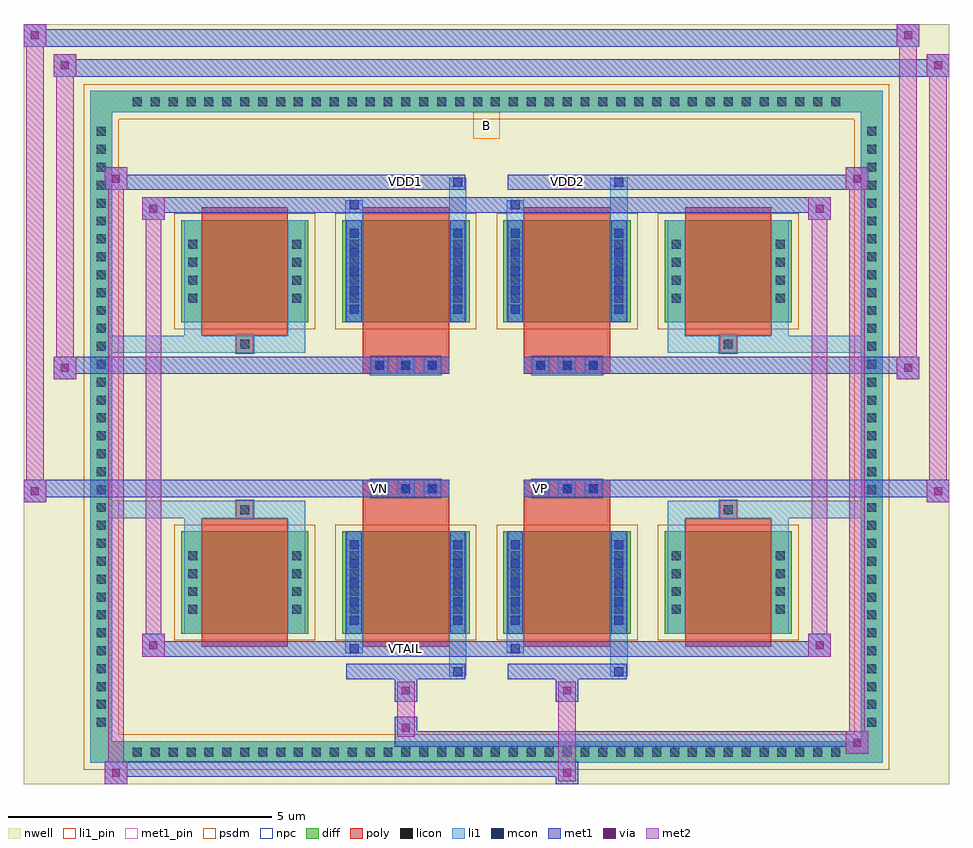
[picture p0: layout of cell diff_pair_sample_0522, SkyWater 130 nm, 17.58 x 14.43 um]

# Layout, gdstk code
import gdstk
lib = gdstk.Library(unit=1e-6, precision=5e-09)
def R(c, l, rs):  # rectangles x0, y0, x1, y1
    for r in rs: c.add(gdstk.rectangle(r[:2], r[2:], *l))
def A(c, l, x, y, w, h, nx, ny, dx, dy):  # array of equal rectangles
    R(c, l, [(x+i*dx, y+j*dy, x+i*dx+w, y+j*dy+h) for i in range(nx) for j in range(ny)])
def P(c, l, *ps):  # polygons
    for p in ps: c.add(gdstk.Polygon(p, *l))
nwell = (64, 20)
diff = (65, 20)
poly = (66, 20)
licon = (66, 44)
li1_pin = (67, 16)
li1 = (67, 20)
mcon = (67, 44)
met1_pin = (68, 16)
met1 = (68, 20)
via = (68, 44)
met2 = (69, 20)
psdm = (94, 20)
npc = (95, 20)

diff_pair_sample_0522 = lib.new_cell('diff_pair_sample_0522')
R(diff_pair_sample_0522, nwell, [(-8.79,-6.78,8.79,7.65), (-6.11,-4.97,-0.01,-0.805), (0.01,-4.97,6.11,-0.805), (-6.11,0.805,-0.01,4.97), (0.01,0.805,6.11,4.97)])
A(diff_pair_sample_0522, diff, -6.835, -6.38, 0.41, 0.41, 40, 2, 0.34, 12.35)
A(diff_pair_sample_0522, diff, -7.52, -5.815, 0.41, 0.41, 1, 34, 0, 0.34)
A(diff_pair_sample_0522, diff, 7.11, -5.815, 0.41, 0.41, 1, 34, 0, 0.34)
A(diff_pair_sample_0522, diff, -5.8, -3.925, 2.42, 1.94, 4, 2, 3.06, 5.91)
R(diff_pair_sample_0522, diff, [(-6.835,-6.38,6.835,-5.97), (-7.52,-5.815,-7.11,5.815), (7.11,-5.815,7.52,5.815), (-6.835,5.97,6.835,6.38)])
P(diff_pair_sample_0522, diff, [(7.52,6.38),(-7.52,6.38),(-7.52,-5.97),(-7.11,-5.97),(-7.11,5.97),(7.11,5.97),(7.11,-5.97),(-7.11,-5.97),(-7.52,-5.97),(-7.52,-6.38),(7.52,-6.38)])
A(diff_pair_sample_0522, poly, -5.41, -4.175, 1.64, 2.44, 4, 2, 3.06, 5.91)
A(diff_pair_sample_0522, poly, -2.195, -1.335, 0.33, 0.33, 3, 2, 0.5, 2.34)
A(diff_pair_sample_0522, poly, 0.865, -1.335, 0.33, 0.33, 3, 2, 0.5, 2.34)
R(diff_pair_sample_0522, poly, [(-4.755,-1.735,-4.425,-1.405), (-4.755,-1.735,-4.425,-1.405), (-2.35,-1.735,-0.71,-1.335), (0.71,-1.735,2.35,-1.335), (4.425,-1.735,4.755,-1.405), (4.425,-1.735,4.755,-1.405), (-2.35,-1.335,-0.71,-1.005), (0.71,-1.335,2.35,-1.005), (-2.35,1.005,-0.71,1.335), (0.71,1.005,2.35,1.335), (-2.35,1.335,-0.71,1.735), (0.71,1.335,2.35,1.735), (-4.755,1.405,-4.425,1.735), (-4.755,1.405,-4.425,1.735), (4.425,1.405,4.755,1.735), (4.425,1.405,4.755,1.735)])
A(diff_pair_sample_0522, licon, -6.715, -6.26, 0.17, 0.17, 40, 2, 0.34, 12.35)
A(diff_pair_sample_0522, licon, -7.4, -5.695, 0.17, 0.17, 1, 34, 0, 0.34)
A(diff_pair_sample_0522, licon, 7.23, -5.695, 0.17, 0.17, 1, 34, 0, 0.34)
A(diff_pair_sample_0522, licon, -5.66, -3.55, 0.17, 0.17, 1, 4, 0, 0.34)
A(diff_pair_sample_0522, licon, -3.69, -3.55, 0.17, 0.17, 1, 4, 0, 0.34)
A(diff_pair_sample_0522, licon, -2.6, -3.55, 0.17, 0.17, 1, 4, 0, 0.34)
A(diff_pair_sample_0522, licon, -0.63, -3.55, 0.17, 0.17, 1, 4, 0, 0.34)
A(diff_pair_sample_0522, licon, 0.46, -3.55, 0.17, 0.17, 1, 4, 0, 0.34)
A(diff_pair_sample_0522, licon, 2.43, -3.55, 0.17, 0.17, 1, 4, 0, 0.34)
A(diff_pair_sample_0522, licon, 3.52, -3.55, 0.17, 0.17, 1, 4, 0, 0.34)
A(diff_pair_sample_0522, licon, 5.49, -3.55, 0.17, 0.17, 1, 4, 0, 0.34)
A(diff_pair_sample_0522, licon, -2.115, -1.255, 0.17, 0.17, 3, 2, 0.5, 2.34)
A(diff_pair_sample_0522, licon, 0.945, -1.255, 0.17, 0.17, 3, 2, 0.5, 2.34)
A(diff_pair_sample_0522, licon, -5.66, 2.36, 0.17, 0.17, 1, 4, 0, 0.34)
A(diff_pair_sample_0522, licon, -3.69, 2.36, 0.17, 0.17, 1, 4, 0, 0.34)
A(diff_pair_sample_0522, licon, -2.6, 2.36, 0.17, 0.17, 1, 4, 0, 0.34)
A(diff_pair_sample_0522, licon, -0.63, 2.36, 0.17, 0.17, 1, 4, 0, 0.34)
A(diff_pair_sample_0522, licon, 0.46, 2.36, 0.17, 0.17, 1, 4, 0, 0.34)
A(diff_pair_sample_0522, licon, 2.43, 2.36, 0.17, 0.17, 1, 4, 0, 0.34)
A(diff_pair_sample_0522, licon, 3.52, 2.36, 0.17, 0.17, 1, 4, 0, 0.34)
A(diff_pair_sample_0522, licon, 5.49, 2.36, 0.17, 0.17, 1, 4, 0, 0.34)
R(diff_pair_sample_0522, licon, [(-4.675,-1.655,-4.505,-1.485), (4.505,-1.655,4.675,-1.485), (-4.675,1.485,-4.505,1.655), (4.505,1.485,4.675,1.655)])
R(diff_pair_sample_0522, li1_pin, [(-0.25,5.47,0.25,5.97)])
A(diff_pair_sample_0522, li1, -6.795, -6.34, 0.33, 0.33, 40, 2, 0.34, 12.35)
A(diff_pair_sample_0522, li1, -7.48, -5.775, 0.33, 0.33, 1, 34, 0, 0.34)
A(diff_pair_sample_0522, li1, 7.15, -5.775, 0.33, 0.33, 1, 34, 0, 0.34)
A(diff_pair_sample_0522, li1, -2.6, -3.76, 0.17, 0.17, 1, 5, 0, 0.36)
A(diff_pair_sample_0522, li1, -0.63, -3.76, 0.17, 0.17, 1, 5, 0, 0.36)
A(diff_pair_sample_0522, li1, 0.46, -3.76, 0.17, 0.17, 1, 5, 0, 0.36)
A(diff_pair_sample_0522, li1, 2.43, -3.76, 0.17, 0.17, 1, 5, 0, 0.36)
A(diff_pair_sample_0522, li1, -5.74, -3.63, 0.33, 0.33, 1, 4, 0, 0.34)
A(diff_pair_sample_0522, li1, -3.77, -3.63, 0.33, 0.33, 1, 4, 0, 0.34)
A(diff_pair_sample_0522, li1, -2.68, -3.63, 0.33, 0.33, 1, 4, 0, 0.34)
A(diff_pair_sample_0522, li1, -0.71, -3.63, 0.33, 0.33, 1, 4, 0, 0.34)
A(diff_pair_sample_0522, li1, 0.38, -3.63, 0.33, 0.33, 1, 4, 0, 0.34)
A(diff_pair_sample_0522, li1, 2.35, -3.63, 0.33, 0.33, 1, 4, 0, 0.34)
A(diff_pair_sample_0522, li1, 3.44, -3.63, 0.33, 0.33, 1, 4, 0, 0.34)
A(diff_pair_sample_0522, li1, 5.41, -3.63, 0.33, 0.33, 1, 4, 0, 0.34)
A(diff_pair_sample_0522, li1, -2.195, -1.335, 0.33, 0.33, 3, 2, 0.5, 2.34)
A(diff_pair_sample_0522, li1, 0.865, -1.335, 0.33, 0.33, 3, 2, 0.5, 2.34)
A(diff_pair_sample_0522, li1, -2.6, 2.15, 0.17, 0.17, 1, 5, 0, 0.36)
A(diff_pair_sample_0522, li1, -0.63, 2.15, 0.17, 0.17, 1, 5, 0, 0.36)
A(diff_pair_sample_0522, li1, 0.46, 2.15, 0.17, 0.17, 1, 5, 0, 0.36)
A(diff_pair_sample_0522, li1, 2.43, 2.15, 0.17, 0.17, 1, 5, 0, 0.36)
A(diff_pair_sample_0522, li1, -5.74, 2.28, 0.33, 0.33, 1, 4, 0, 0.34)
A(diff_pair_sample_0522, li1, -3.77, 2.28, 0.33, 0.33, 1, 4, 0, 0.34)
A(diff_pair_sample_0522, li1, -2.68, 2.28, 0.33, 0.33, 1, 4, 0, 0.34)
A(diff_pair_sample_0522, li1, -0.71, 2.28, 0.33, 0.33, 1, 4, 0, 0.34)
A(diff_pair_sample_0522, li1, 0.38, 2.28, 0.33, 0.33, 1, 4, 0, 0.34)
A(diff_pair_sample_0522, li1, 2.35, 2.28, 0.33, 0.33, 1, 4, 0, 0.34)
A(diff_pair_sample_0522, li1, 3.44, 2.28, 0.33, 0.33, 1, 4, 0, 0.34)
A(diff_pair_sample_0522, li1, 5.41, 2.28, 0.33, 0.33, 1, 4, 0, 0.34)
R(diff_pair_sample_0522, li1, [(-7.52,-6.38,-7.11,-5.97), (-7.52,-6.38,-7.11,-5.97), (-7.11,-6.38,7.11,-5.97), (7.11,-6.38,7.52,-5.97), (7.11,-6.38,7.52,-5.97), (-7.52,-5.97,-7.11,5.97), (7.11,-5.97,7.52,5.97), (-0.71,-4.73,-0.38,-3.925), (-0.63,-4.73,-0.46,-4.56), (2.35,-4.73,2.68,-3.925), (2.43,-4.73,2.6,-4.56), (-2.68,-4.3,-2.35,-3.925), (-2.6,-4.3,-2.43,-4.13), (0.38,-4.3,0.71,-3.925), (0.46,-4.3,0.63,-4.13), (-5.74,-3.925,-5.41,-1.985), (-3.77,-3.925,-3.44,-1.985), (-2.68,-3.925,-2.35,-1.985), (-0.71,-3.925,-0.38,-1.985), (0.38,-3.925,0.71,-1.985), (2.35,-3.925,2.68,-1.985), (3.44,-3.925,3.77,-1.985), (5.41,-3.925,5.74,-1.985), (-2.6,-3.76,-2.43,-2.15), (-0.63,-3.76,-0.46,-2.15), (0.46,-3.76,0.63,-2.15), (2.43,-3.76,2.6,-2.15), (-5.74,-1.985,-5.41,-1.405), (-3.77,-1.985,-3.44,-1.405), (3.44,-1.985,3.77,-1.405), (5.41,-1.985,5.74,-1.405), (-7.52,-1.735,-4.755,-1.405), (-5.74,-1.735,-4.755,-1.405), (-4.755,-1.735,-4.425,-1.405), (-4.425,-1.735,-3.44,-1.405), (3.44,-1.735,4.425,-1.405), (4.425,-1.735,4.755,-1.405), (4.425,-1.735,7.52,-1.405), (4.755,-1.735,5.74,-1.405), (-7.52,1.405,-4.755,1.735), (-5.74,1.405,-4.755,1.735), (-5.74,1.405,-5.41,1.985), (-4.755,1.405,-4.425,1.735), (-4.425,1.405,-3.44,1.735), (-3.77,1.405,-3.44,1.985), (3.44,1.405,4.425,1.735), (3.44,1.405,3.77,1.985), (4.425,1.405,4.755,1.735), (4.425,1.405,7.52,1.735), (4.755,1.405,5.74,1.735), (5.41,1.405,5.74,1.985), (-5.74,1.985,-5.41,3.925), (-3.77,1.985,-3.44,3.925), (-2.68,1.985,-2.35,3.925), (-0.71,1.985,-0.38,3.925), (0.38,1.985,0.71,3.925), (2.35,1.985,2.68,3.925), (3.44,1.985,3.77,3.925), (5.41,1.985,5.74,3.925), (-2.6,2.15,-2.43,3.76), (-0.63,2.15,-0.46,3.76), (0.46,2.15,0.63,3.76), (2.43,2.15,2.6,3.76), (-2.68,3.925,-2.35,4.3), (-0.71,3.925,-0.38,4.73), (0.38,3.925,0.71,4.3), (2.35,3.925,2.68,4.73), (-2.6,4.13,-2.43,4.3), (0.46,4.13,0.63,4.3), (-0.63,4.56,-0.46,4.73), (2.43,4.56,2.6,4.73), (-7.52,5.97,-7.11,6.38), (-7.52,5.97,-7.11,6.38), (-7.11,5.97,7.11,6.38), (7.11,5.97,7.52,6.38), (7.11,5.97,7.52,6.38)])
A(diff_pair_sample_0522, mcon, -2.6, -3.76, 0.17, 0.17, 1, 5, 0, 0.36)
A(diff_pair_sample_0522, mcon, -0.63, -3.76, 0.17, 0.17, 1, 5, 0, 0.36)
A(diff_pair_sample_0522, mcon, 0.46, -3.76, 0.17, 0.17, 1, 5, 0, 0.36)
A(diff_pair_sample_0522, mcon, 2.43, -3.76, 0.17, 0.17, 1, 5, 0, 0.36)
A(diff_pair_sample_0522, mcon, -2.115, -1.255, 0.17, 0.17, 3, 2, 0.5, 2.34)
A(diff_pair_sample_0522, mcon, 0.945, -1.255, 0.17, 0.17, 3, 2, 0.5, 2.34)
A(diff_pair_sample_0522, mcon, -2.6, 2.15, 0.17, 0.17, 1, 5, 0, 0.36)
A(diff_pair_sample_0522, mcon, -0.63, 2.15, 0.17, 0.17, 1, 5, 0, 0.36)
A(diff_pair_sample_0522, mcon, 0.46, 2.15, 0.17, 0.17, 1, 5, 0, 0.36)
A(diff_pair_sample_0522, mcon, 2.43, 2.15, 0.17, 0.17, 1, 5, 0, 0.36)
R(diff_pair_sample_0522, mcon, [(-0.63,-4.73,-0.46,-4.56), (2.43,-4.73,2.6,-4.56), (-2.6,-4.3,-2.43,-4.13), (0.46,-4.3,0.63,-4.13), (-2.6,4.13,-2.43,4.3), (0.46,4.13,0.63,4.3), (-0.63,4.56,-0.46,4.73), (2.43,4.56,2.6,4.73)])
R(diff_pair_sample_0522, met1_pin, [(-1.665,-4.34,-1.395,-4.07), (-2.165,-1.295,-1.895,-1.025), (0.895,-1.295,1.165,-1.025), (-1.665,4.52,-1.395,4.79), (1.395,4.52,1.665,4.79)])
A(diff_pair_sample_0522, met1, -2.66, -3.82, 0.29, 0.29, 1, 5, 0, 0.36)
A(diff_pair_sample_0522, met1, -0.69, -3.82, 0.29, 0.29, 1, 5, 0, 0.36)
A(diff_pair_sample_0522, met1, 0.4, -3.82, 0.29, 0.29, 1, 5, 0, 0.36)
A(diff_pair_sample_0522, met1, 2.37, -3.82, 0.29, 0.29, 1, 5, 0, 0.36)
A(diff_pair_sample_0522, met1, -2.175, -1.315, 0.29, 0.29, 3, 2, 0.5, 2.34)
A(diff_pair_sample_0522, met1, 0.885, -1.315, 0.29, 0.29, 3, 2, 0.5, 2.34)
A(diff_pair_sample_0522, met1, -2.66, 2.09, 0.29, 0.29, 1, 5, 0, 0.36)
A(diff_pair_sample_0522, met1, -0.69, 2.09, 0.29, 0.29, 1, 5, 0, 0.36)
A(diff_pair_sample_0522, met1, 0.4, 2.09, 0.29, 0.29, 1, 5, 0, 0.36)
A(diff_pair_sample_0522, met1, 2.37, 2.09, 0.29, 0.29, 1, 5, 0, 0.36)
R(diff_pair_sample_0522, met1, [(-7.25,-6.78,-6.82,-6.35), (1.315,-6.78,1.745,-6.35), (-7.25,-6.64,1.745,-6.35), (6.82,-6.21,7.25,-5.78), (-1.745,-6.07,7.25,-5.78), (-1.745,-5.93,-1.315,-5.5), (-1.745,-5.22,-1.315,-4.79), (1.315,-5.22,1.745,-4.79), (-2.66,-4.79,-0.4,-4.5), (-0.69,-4.79,-0.4,-4.5), (0.4,-4.79,2.66,-4.5), (2.37,-4.79,2.66,-4.5), (-6.54,-4.36,-6.11,-3.93), (-6.54,-4.36,-2.66,-4.07), (-2.66,-4.36,-2.37,-4.07), (-2.66,-4.36,-0.4,-4.07), (-0.4,-4.36,0.4,-4.07), (0.4,-4.36,0.69,-4.07), (0.4,-4.36,2.66,-4.07), (2.66,-4.36,6.54,-4.07), (6.11,-4.36,6.54,-3.93), (-2.66,-3.925,-2.37,-1.985), (-0.69,-3.925,-0.4,-1.985), (0.4,-3.925,0.69,-1.985), (2.37,-3.925,2.66,-1.985), (-8.79,-1.435,-8.36,-1.005), (8.36,-1.435,8.79,-1.005), (-8.79,-1.335,-0.71,-1.005), (-2.35,-1.335,-0.71,-1.005), (0.71,-1.335,2.35,-1.005), (0.71,-1.335,8.79,-1.005), (-8.22,0.905,-7.79,1.335), (7.79,0.905,8.22,1.335), (-8.22,1.005,-2.35,1.335), (-2.35,1.005,-0.71,1.335), (0.71,1.005,2.35,1.335), (2.35,1.005,8.22,1.335), (-2.66,1.985,-2.37,3.925), (-0.69,1.985,-0.4,3.925), (0.4,1.985,0.69,3.925), (2.37,1.985,2.66,3.925), (-6.54,3.93,-6.11,4.36), (6.11,3.93,6.54,4.36), (-6.54,4.07,-2.66,4.36), (-2.66,4.07,-2.37,4.36), (-2.66,4.07,-0.4,4.36), (-0.4,4.07,0.4,4.36), (0.4,4.07,0.69,4.36), (0.4,4.07,2.66,4.36), (2.66,4.07,6.54,4.36), (-7.25,4.5,-6.82,4.93), (-7.25,4.5,-2.66,4.79), (-2.66,4.5,-0.4,4.79), (-0.69,4.5,-0.4,4.79), (0.4,4.5,2.66,4.79), (2.37,4.5,2.66,4.79), (2.66,4.5,7.25,4.79), (6.82,4.5,7.25,4.93), (-8.22,6.65,-7.79,7.08), (-8.22,6.65,-6.11,6.98), (-6.11,6.65,6.11,6.98), (6.11,6.65,8.79,6.98), (8.36,6.65,8.79,7.08), (-8.79,7.22,-8.36,7.65), (-8.79,7.22,-6.11,7.55), (-6.11,7.22,6.11,7.55), (6.11,7.22,8.22,7.55), (7.79,7.22,8.22,7.65)])
R(diff_pair_sample_0522, via, [(-7.11,-6.64,-6.96,-6.49), (1.455,-6.64,1.605,-6.49), (6.96,-6.07,7.11,-5.92), (-1.605,-5.79,-1.455,-5.64), (-1.605,-5.08,-1.455,-4.93), (1.455,-5.08,1.605,-4.93), (-6.4,-4.22,-6.25,-4.07), (6.25,-4.22,6.4,-4.07), (-8.65,-1.295,-8.5,-1.145), (8.5,-1.295,8.65,-1.145), (-8.08,1.045,-7.93,1.195), (7.93,1.045,8.08,1.195), (-6.4,4.07,-6.25,4.22), (6.25,4.07,6.4,4.22), (-7.11,4.64,-6.96,4.79), (6.96,4.64,7.11,4.79), (-8.08,6.79,-7.93,6.94), (8.5,6.79,8.65,6.94), (-8.65,7.36,-8.5,7.51), (7.93,7.36,8.08,7.51)])
R(diff_pair_sample_0522, met2, [(-7.25,-6.78,-6.82,-6.35), (-7.18,-6.78,-6.89,4.93), (-6.89,-6.78,-6.82,-6.35), (-7.2,-6.73,-6.87,-6.4), (1.365,-6.73,1.695,-6.4), (1.365,-6.4,1.695,-5.17), (6.82,-6.21,7.25,-5.78), (6.89,-6.21,7.18,4.93), (7.18,-6.21,7.25,-5.78), (6.87,-6.16,7.2,-5.83), (-1.695,-5.88,-1.365,-5.55), (-1.695,-5.55,-1.365,-5.17), (-1.695,-5.17,-1.365,-4.84), (1.365,-5.17,1.695,-4.84), (-6.54,-4.36,-6.11,-3.93), (-6.47,-4.36,-6.18,4.36), (-6.18,-4.36,-6.11,-3.93), (6.11,-4.36,6.54,-3.93), (6.18,-4.36,6.47,4.36), (6.47,-4.36,6.54,-3.93), (-6.49,-4.31,-6.16,-3.98), (6.16,-4.31,6.49,-3.98), (-8.79,-1.435,-8.36,-1.005), (-8.74,-1.435,-8.41,7.65), (-8.41,-1.435,-8.36,-1.005), (8.36,-1.435,8.79,-1.005), (8.41,-1.435,8.74,7.08), (8.74,-1.435,8.79,-1.005), (-8.74,-1.385,-8.41,-1.055), (8.41,-1.385,8.74,-1.055), (-8.22,0.905,-7.79,1.335), (-8.17,0.905,-7.84,7.08), (-7.84,0.905,-7.79,1.335), (7.79,0.905,8.22,1.335), (7.84,0.905,8.17,7.65), (8.17,0.905,8.22,1.335), (-8.17,0.955,-7.84,1.285), (7.84,0.955,8.17,1.285), (-6.54,3.93,-6.11,4.36), (-6.18,3.93,-6.11,4.36), (6.11,3.93,6.54,4.36), (6.47,3.93,6.54,4.36), (-6.49,3.98,-6.16,4.31), (6.16,3.98,6.49,4.31), (-7.25,4.5,-6.82,4.93), (-6.89,4.5,-6.82,4.93), (6.82,4.5,7.25,4.93), (7.18,4.5,7.25,4.93), (-7.2,4.55,-6.87,4.88), (6.87,4.55,7.2,4.88), (-8.22,6.65,-7.79,7.08), (-7.84,6.65,-7.79,7.08), (8.36,6.65,8.79,7.08), (8.74,6.65,8.79,7.08), (-8.17,6.7,-7.84,7.03), (8.41,6.7,8.74,7.03), (-8.79,7.22,-8.36,7.65), (-8.41,7.22,-8.36,7.65), (7.79,7.22,8.22,7.65), (8.17,7.22,8.22,7.65), (-8.74,7.27,-8.41,7.6), (7.84,7.27,8.17,7.6)])
A(diff_pair_sample_0522, psdm, -5.93, -4.055, 2.68, 2.2, 4, 2, 3.06, 5.91)
P(diff_pair_sample_0522, psdm, [(7.65,6.51),(-7.65,6.51),(-7.65,-5.84),(-6.98,-5.84),(-6.98,5.84),(6.98,5.84),(6.98,-5.84),(-6.98,-5.84),(-7.65,-5.84),(-7.65,-6.51),(7.65,-6.51)])
A(diff_pair_sample_0522, npc, -2.215, -1.355, 0.37, 0.37, 3, 2, 0.5, 2.34)
A(diff_pair_sample_0522, npc, 0.845, -1.355, 0.37, 0.37, 3, 2, 0.5, 2.34)
R(diff_pair_sample_0522, npc, [(-4.775,-1.755,-4.405,-1.385), (4.405,-1.755,4.775,-1.385), (-2.215,-1.355,-1.345,-0.985), (-2.215,-1.355,-1.345,-0.985), (-1.715,-1.355,-0.845,-0.985), (-1.715,-1.355,-0.845,-0.985), (0.845,-1.355,1.715,-0.985), (0.845,-1.355,1.715,-0.985), (1.345,-1.355,2.215,-0.985), (1.345,-1.355,2.215,-0.985), (-2.215,0.985,-1.345,1.355), (-2.215,0.985,-1.345,1.355), (-1.715,0.985,-0.845,1.355), (-1.715,0.985,-0.845,1.355), (0.845,0.985,1.715,1.355), (0.845,0.985,1.715,1.355), (1.345,0.985,2.215,1.355), (1.345,0.985,2.215,1.355), (-4.775,1.385,-4.405,1.755), (4.405,1.385,4.775,1.755)])
diff_pair_sample_0522.add(gdstk.Label('VTAIL', (-1.53,-4.205), layer=68, texttype=5))
diff_pair_sample_0522.add(gdstk.Label('VN', (-2.03,-1.16), layer=68, texttype=5))
diff_pair_sample_0522.add(gdstk.Label('VP', (1.03,-1.16), layer=68, texttype=5))
diff_pair_sample_0522.add(gdstk.Label('B', (0,5.72), layer=67, texttype=5))
diff_pair_sample_0522.add(gdstk.Label('VDD2', (1.53,4.655), layer=68, texttype=5))
diff_pair_sample_0522.add(gdstk.Label('VDD1', (-1.53,4.655), layer=68, texttype=5))

lib.write_gds('diff_pair_sample_0522.gds')
